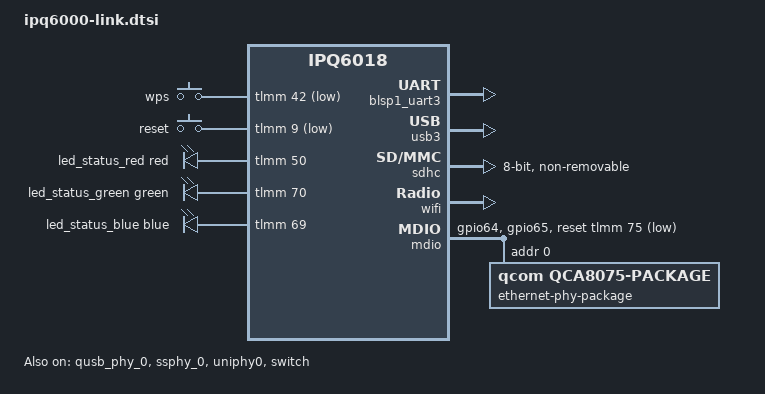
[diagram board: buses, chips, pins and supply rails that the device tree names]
// SPDX-License-Identifier: GPL-2.0-or-later OR MIT

#include "ipq6018-512m.dtsi"
#include "ipq6018-ess.dtsi"

#include <dt-bindings/gpio/gpio.h>
#include <dt-bindings/input/input.h>
#include <dt-bindings/leds/common.h>

/ {
	aliases {
		serial0 = &blsp1_uart3;
		led-boot = &led_status_red;
		led-failsafe = &led_status_red;
		led-running = &led_status_green;
		led-upgrade = &led_status_red;
	};

	chosen {
		stdout-path = "serial0:115200n8";
	};

	keys {
		compatible = "gpio-keys";

		wps {
			label = "wps";
			linux,code = <KEY_WPS_BUTTON>;
			gpios = <&tlmm 42 GPIO_ACTIVE_LOW>;
		};

		reset {
			label = "reset";
			linux,code = <KEY_RESTART>;
			gpios = <&tlmm 9 GPIO_ACTIVE_LOW>;
		};
	};

	leds {
		/* Single RGB led controlled via GPIO.
		To mimic the OEM default behaviour red are switched on from boot */
		compatible = "gpio-leds";

		led_status_red: status-red {
			gpios = <&tlmm 50 GPIO_ACTIVE_HIGH>;
			color = <LED_COLOR_ID_RED>;
			function = LED_FUNCTION_STATUS;
			default-state = "on";
		};

		led_status_green: status-green {
			gpios = <&tlmm 70 GPIO_ACTIVE_HIGH>;
			color = <LED_COLOR_ID_GREEN>;
			function = LED_FUNCTION_STATUS;
		};

		led_status_blue: status-blue {
			gpios = <&tlmm 69 GPIO_ACTIVE_HIGH>;
			color = <LED_COLOR_ID_BLUE>;
			function = LED_FUNCTION_STATUS;
		};
	};
};

&tlmm {
	gpio-reserved-ranges = <20 1>;

	mdio_pins: mdio-pins {
		mdc {
			pins = "gpio64";
			function = "mdc";
			drive-strength = <8>;
			bias-pull-up;
		};

		mdio {
			pins = "gpio65";
			function = "mdio";
			drive-strength = <8>;
			bias-pull-up;
		};
	};
};

&blsp1_uart3 {
	status = "okay";
	pinctrl-0 = <&serial_3_pins>;
	pinctrl-names = "default";
};

&qusb_phy_0 {
	status = "okay";
};

&ssphy_0 {
	status = "okay";
};

&usb3 {
	status = "okay";
};

&rpm {
	status = "disabled";
};

&sdhc {
	bus-width = <8>;
	mmc-ddr-1_8v;
	mmc-hs200-1_8v;
	non-removable;
	status = "okay";
};

&wifi {
	status = "okay";
	qcom,ath11k-fw-memory-mode = <1>;
	qcom,ath11k-calibration-variant = "Link-NN6000";
};

&mdio {
	status = "okay";

	pinctrl-0 = <&mdio_pins>;
	pinctrl-names = "default";
	reset-gpios = <&tlmm 75 GPIO_ACTIVE_LOW>;

	ethernet-phy-package@0 {
		compatible = "qcom,qca8075-package";
		#address-cells = <1>;
		#size-cells = <0>;
		reg = <0>;

		qca8075_0: ethernet-phy@0 {
			compatible = "ethernet-phy-ieee802.3-c22";
			reg = <0>;
		};

		qca8075_1: ethernet-phy@1 {
			compatible = "ethernet-phy-ieee802.3-c22";
			reg = <1>;
		};

		qca8075_2: ethernet-phy@2 {
			compatible = "ethernet-phy-ieee802.3-c22";
			reg = <2>;
		};

		qca8075_3: ethernet-phy@3 {
			compatible = "ethernet-phy-ieee802.3-c22";
			reg = <3>;
		};

		qca8075_4: ethernet-phy@4 {
			compatible = "ethernet-phy-ieee802.3-c22";
			reg = <4>;
		};
	};
};

&uniphy0 {
	status = "okay";
};

&switch {
	status = "okay";

	ports {
		#address-cells = <1>;
		#size-cells = <0>;

		port@0 {
			reg = <0>;
			ethernet = <&edma>;
			phy-mode = "internal";

			fixed-link {
				speed = <1000>;
				full-duplex;
			};
		};

		swport1: port@1 {
			reg = <1>;
			phy-handle = <&qca8075_0>;
			phy-mode = "psgmii";
			pcs-handle = <&uniphy0 0>;
			status = "disabled";
		};

		swport2: port@2 {
			reg = <2>;
			phy-handle = <&qca8075_1>;
			phy-mode = "psgmii";
			pcs-handle = <&uniphy0 1>;
		};

		swport3: port@3 {
			reg = <3>;
			phy-handle = <&qca8075_2>;
			phy-mode = "psgmii";
			pcs-handle = <&uniphy0 2>;
		};

		swport4: port@4 {
			reg = <4>;
			phy-handle = <&qca8075_3>;
			phy-mode = "psgmii";
			pcs-handle = <&uniphy0 3>;
		};

		swport5: port@5 {
			reg = <5>;
			phy-handle = <&qca8075_4>;
			phy-mode = "psgmii";
			pcs-handle = <&uniphy0 4>;
			status = "disabled";
		};
	};
};

&edma {
	status = "okay";
};
